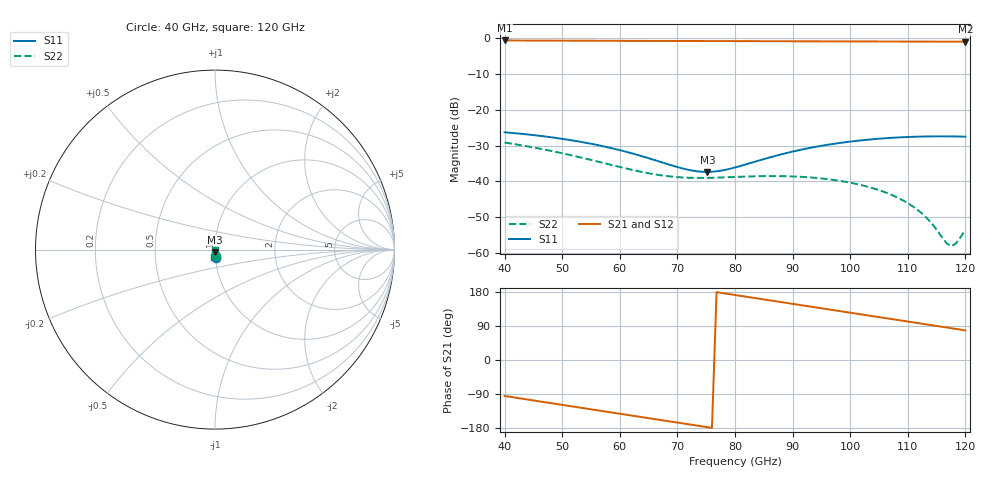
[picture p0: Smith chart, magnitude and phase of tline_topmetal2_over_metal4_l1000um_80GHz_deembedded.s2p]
! Created with skrf 2.0.1 (http://scikit-rf.org).
# GHz S DB R 50.0
!freq dBS11 angS11 dBS21 angS21 dBS12 angS12 dBS22 angS22
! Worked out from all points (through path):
!   101 points, 40 GHz to 120 GHz, reference 50 ohm
!   highest |S21| = -0.63 dB at 40 GHz (marker M1); lowest = -1.0 dB at 120 GHz (marker M2)
!   group delay of S21, straight-line fit = 6.49 ps
!   lowest |S11| = -37.4 dB at 75.2 GHz (marker M3), VSWR 1.03, Z = 50 - j1.36 ohm
!   |S11| at or under -10 dB: start of sweep to end of sweep
!   |S22| runs from -58.1 to -29.1 dB; largest |S21 - S12| = 1.6e-13
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40  -26.30 -84.9  -0.63 -95.0  -0.63 -95.0  -29.14 -82.2
46.4  -27.33 -98.3  -0.67 -109.9  -0.67 -109.9  -30.95 -94.3
53.6  -29.07 -110.9  -0.70 -126.8  -0.70 -126.8  -33.46 -104.2
60.8  -31.61 -118.8  -0.74 -143.6  -0.74 -143.6  -36.28 -107.1
67.2  -34.62 -117.1  -0.77 -158.6  -0.77 -158.6  -38.31 -102.2
72  -36.80 -104.6  -0.79 -169.8  -0.79 -169.8  -38.98 -96.2
75.2  -37.35 -90.4  -0.80 -177.3  -0.80 -177.3  -39.01 -93.4
77.6  -36.99 -79.6  -0.81 177.1  -0.81 177.1  -38.91 -92.4
80  -36.12 -71.1  -0.82 171.5  -0.82 171.5  -38.76 -92.5
86.4  -33.14 -61.7  -0.85 156.6  -0.85 156.6  -38.52 -97.1
93.6  -30.47 -64.2  -0.87 139.8  -0.87 139.8  -38.96 -107.6
97.6  -29.40 -68.2  -0.89 130.4  -0.89 130.4  -39.70 -114.7
100.8  -28.73 -71.9  -0.90 123.0  -0.90 123.0  -40.62 -120.7
104  -28.21 -75.9  -0.91 115.5  -0.91 115.5  -41.93 -126.6
107.2  -27.83 -80.1  -0.93 108.0  -0.93 108.0  -43.78 -131.9
109.6  -27.63 -83.3  -0.94 102.4  -0.94 102.4  -45.69 -134.9
112  -27.50 -86.4  -0.94 96.8  -0.94 96.8  -48.34 -135.8
114.4  -27.43 -89.5  -0.95 91.2  -0.95 91.2  -52.22 -130.3
116.8  -27.42 -92.5  -0.96 85.6  -0.96 85.6  -57.40 -99.7
117.6  -27.43 -93.4  -0.96 83.8  -0.96 83.8  -58.10 -78.0
118.4  -27.45 -94.4  -0.97 81.9  -0.97 81.9  -57.26 -56.4
120  -27.51 -96.2  -0.97 78.2  -0.97 78.2  -53.56 -31.8
